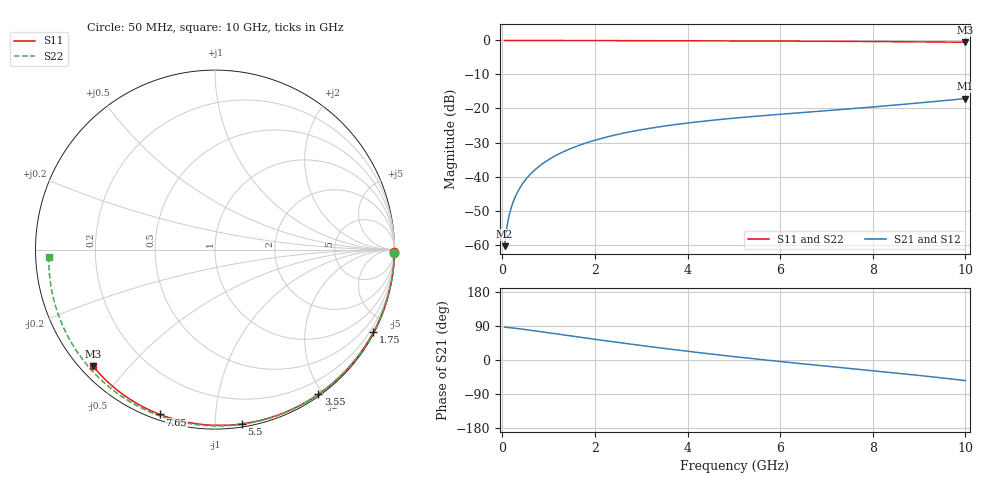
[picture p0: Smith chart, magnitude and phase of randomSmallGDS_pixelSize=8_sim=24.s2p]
! freq	dB(S11)	phase(S11)	dB(S12)	phase(S12)
!  dB(S21)	phase(S21)	dB(S22)	phase(S22)
!S-par simulation data
#  GHz  S  DB  R 50
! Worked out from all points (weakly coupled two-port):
!   200 points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, 50 MHz to 10 GHz, reference 50 ohm
!   highest |S21| = -17.09 dB at 10 GHz (marker M1); lowest = -60.5 dB at 50 MHz (marker M2)
!   lowest |S11| = -0.5 dB at 10 GHz (marker M3), VSWR 32.33, Z = 1.8 - j20.1 ohm
!   |S11| at or under -10 dB: nowhere
!   |S22| runs from -0.7 to 0.0 dB; largest |S21 - S12| = 0
!   S11 on the Smith chart (normalised r, x): 50 MHz: open; 1.75 GHz: 0.04, -4.08; 3.55 GHz: 0.02, -1.95; 5.5 GHz: 0.02, -1.16; 7.65 GHz: 0.02, -0.72; 10 GHz: 0.04, -0.40
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0.05  -0.00 -0.8  -60.47 86.8  -60.47 86.8  -0.00 -1.0
0.1  -0.00 -1.6  -54.69 85.9  -54.69 85.9  -0.00 -2.0
0.15  -0.00 -2.4  -51.28 85.5  -51.28 85.5  -0.00 -3.0
0.2  -0.00 -3.2  -48.84 84.9  -48.84 84.9  -0.00 -4.0
0.25  -0.00 -4.0  -46.93 84.2  -46.93 84.2  -0.00 -5.0
0.35  -0.00 -5.6  -44.04 82.8  -44.04 82.8  -0.01 -7.0
0.5  -0.01 -8.0  -40.97 80.4  -40.97 80.4  -0.01 -10.0
0.7  -0.01 -11.1  -38.08 77.0  -38.08 77.0  -0.02 -14.0
1  -0.02 -15.9  -35.04 71.8  -35.04 71.8  -0.03 -19.9
1.35  -0.03 -21.3  -32.52 65.7  -32.52 65.7  -0.04 -26.8
1.75  -0.04 -27.5  -30.39 58.9  -30.39 58.9  -0.05 -34.5
2.6  -0.06 -40.4  -27.30 44.7  -27.30 44.7  -0.07 -50.6
3.4  -0.08 -52.2  -25.37 32.1  -25.37 32.1  -0.10 -65.3
3.55  -0.09 -54.4  -25.07 29.8  -25.07 29.8  -0.10 -68.0
4.3  -0.11 -65.0  -23.80 18.7  -23.80 18.7  -0.13 -81.2
5.05  -0.13 -75.3  -22.79 8.3  -22.79 8.3  -0.16 -94.1
5.5  -0.15 -81.3  -22.25 2.4  -22.25 2.4  -0.19 -101.6
6.7  -0.22 -96.8  -20.96 -12.6  -20.96 -12.6  -0.27 -121.2
7.65  -0.28 -108.5  -19.94 -24.0  -19.94 -24.0  -0.35 -136.7
8.35  -0.34 -116.9  -19.15 -32.5  -19.15 -32.5  -0.42 -148.3
9.2  -0.43 -126.9  -18.12 -43.4  -18.12 -43.4  -0.53 -162.9
10  -0.54 -136.2  -17.09 -54.3  -17.09 -54.3  -0.66 -177.5
